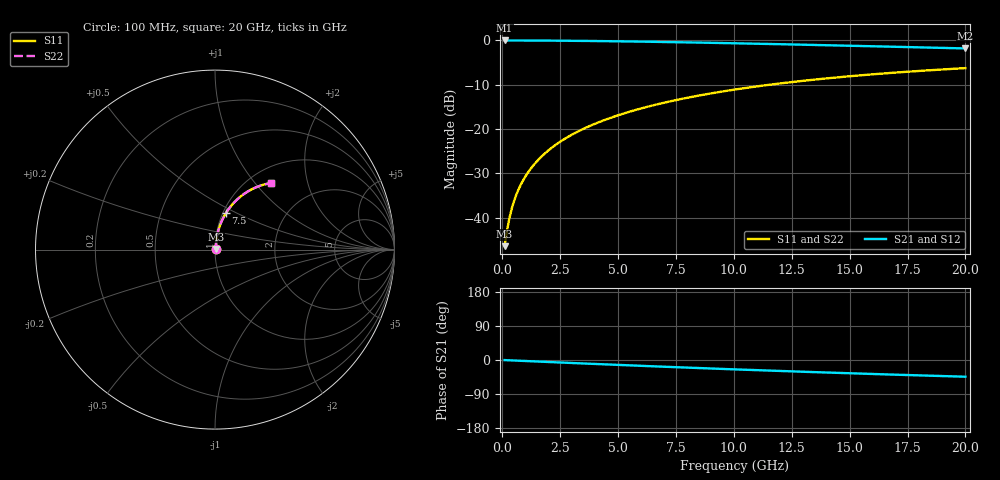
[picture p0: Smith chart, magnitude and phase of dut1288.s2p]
! Touchstone file exported from HFSS 2024.1.0
!  File:  C:/UserFiles/LocalFiles/RDL_TSV_Batchsim/temp_RDL_bottom_1288_1780246952.aedt
!  Generated:  01:05:10 AM Jun  1, 2026
!  Design:  RDL_bottom
!  Project:  temp_RDL_bottom_1288_1780246952
!  Setup:  Setup1
!  Solution:  Sweep
! Variables:
!  dtsv = 10.80580581um
!  hbump = 3um
!  htsv = 87.44um
!  ldown = 546.01um
!  lrdl = 100um
!  p = 40
!  p1 = 59.3um
!  rhole = 1um
!  t = 450um
!  tdown = 3.61um
!  trdl = 3.915915916um
!  wdown = 14.73um
!  wrdl = 20um
# GHz S MA R 50.000000
! Terminal data exported
! Port[1] = RDL1_T1
! Port[2] = RDL1_T2
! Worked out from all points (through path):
!   200 points, 100 MHz to 20 GHz, reference 50 ohm
!   highest |S21| = -0.03 dB at 100 MHz (marker M1); lowest = -1.8 dB at 20 GHz (marker M2)
!   group delay of S21, straight-line fit = 6.12 ps
!   lowest |S11| = -46.4 dB at 100 MHz (marker M3), VSWR 1.01, Z = 50.4 + j0.301 ohm
!   |S11| at or under -10 dB: start of sweep to 11.56 GHz
!   |S22| runs from -46.4 to -6.3 dB; largest |S21 - S12| = 2.1e-15
!   S11 on the Smith chart (normalised r, x): 100 MHz: 1.01, +0.01; 7.5 GHz: 1.03, +0.44; 20 GHz: 1.25, +1.22
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0.1  0.00479 38.6  0.9963 -0.3  0.9963 -0.3  0.00479 38.6
! Gamma 0 0 0 0
! Port Impedance 50 0 50 0
0.2  0.007083 57.2  0.9962 -0.5  0.9962 -0.5  0.007083 57.2
0.3  0.009726 65.9  0.996 -0.8  0.996 -0.8  0.009726 65.9
0.4  0.01247 70.6  0.9959 -1.1  0.9959 -1.1  0.01247 70.6
0.5  0.01525 73.6  0.9957 -1.3  0.9957 -1.3  0.01525 73.6
0.6  0.01804 75.6  0.9955 -1.6  0.9955 -1.6  0.01804 75.6
0.8  0.02366 78.2  0.9952 -2.1  0.9952 -2.1  0.02366 78.2
1.1  0.03213 80.1  0.9946 -2.9  0.9946 -2.9  0.03213 80.1
1.5  0.04349 81.3  0.9936 -4.0  0.9936 -4.0  0.04349 81.3
1.8  0.05203 81.6  0.9927 -4.8  0.9927 -4.8  0.05203 81.6
2.1  0.06058 81.7  0.9916 -5.6  0.9916 -5.6  0.06058 81.7
2.7  0.07769 81.3  0.9891 -7.1  0.9891 -7.1  0.07769 81.3
3.5  0.1005 80.4  0.9849 -9.2  0.9849 -9.2  0.1005 80.4
4.2  0.1204 79.4  0.9805 -11.0  0.9805 -11.0  0.1204 79.4
5  0.1429 78.0  0.9747 -13.0  0.9747 -13.0  0.1429 78.0
5.9  0.1681 76.4  0.9674 -15.2  0.9674 -15.2  0.1681 76.4
6.8  0.193 74.7  0.9594 -17.3  0.9594 -17.3  0.193 74.7
7.5  0.2121 73.4  0.9527 -19.0  0.9527 -19.0  0.2121 73.4
10.1  0.2802 68.2  0.9256 -24.9  0.9256 -24.9  0.2802 68.2
13.4  0.359 61.7  0.8878 -31.9  0.8878 -31.9  0.3589 61.7
16.7  0.4276 55.5  0.8487 -38.3  0.8487 -38.3  0.4276 55.5
20  0.486 49.8  0.81 -44.1  0.81 -44.1  0.486 49.8
